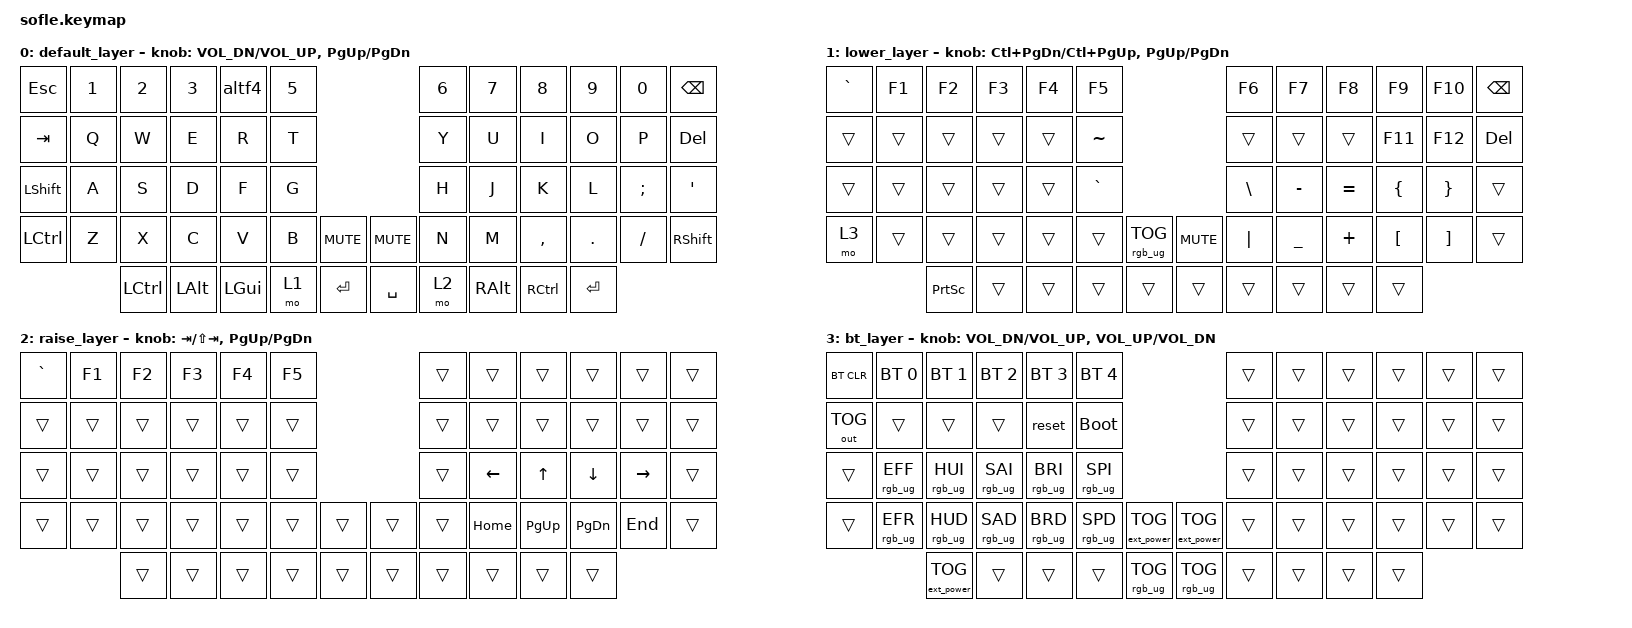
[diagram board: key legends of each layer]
/*
 * Copyright (c) 2020 The ZMK Contributors
 *
 * SPDX-License-Identifier: MIT
 */

#include <behaviors.dtsi>
#include <dt-bindings/zmk/keys.h>
#include <dt-bindings/zmk/bt.h>
#include <dt-bindings/zmk/outputs.h>
#include <dt-bindings/zmk/rgb.h>
#include <dt-bindings/zmk/ext_power.h>

/ {

    behaviors {
        altf4: alt_f4 {
            compatible = "zmk,behavior-mod-morph";
            label = "ALT_F4";
            #binding-cells = <0>;
            bindings = <&kp N4>, <&kp LA(F4)>;
            mods = <(MOD_LALT)>;
        };
    };

    keymap {
        compatible = "zmk,keymap";

        default_layer {
// ------------------------------------------------------------------------------------------------------------
// |  ESC  |  1  |  2  |  3   |  4   |  5   |                   |  6   |  7    |  8    |  9   |   0   | BSPC  |
// |  TAB  |  Q  |  W  |  E   |  R   |  T   |                   |  Y   |  U    |  I    |  O   |   P   | DEL   |
// | SHIFT |  A  |  S  |  D   |  F   |  G   |                   |  H   |  J    |  K    |  L   |   ;   |   '   |
// | CTRL  |  Z  |  X  |  C   |  V   |  B   |  MUTE  |  | MUTE  |  N   |  M    |  ,    |  .   |   /   | SHIFT |
//               |CTRL | ALT  | GUI  | LOWER|  ENTER |  | SPACE | RAISE| CTRL  | ALT   | GUI  |
            bindings = < 
&kp ESC   &kp N1 &kp N2    &kp N3   &altf4    &kp N5                         &kp N6 &kp N7    &kp N8    &kp N9   &kp N0   &kp BSPC
&kp TAB   &kp Q  &kp W     &kp E    &kp R     &kp T                          &kp Y  &kp U     &kp I     &kp O    &kp P    &kp DEL
&kp LSHFT &kp A  &kp S     &kp D    &kp F     &kp G                          &kp H  &kp J     &kp K     &kp L    &kp SEMI &kp SQT
&kp LCTRL &kp Z  &kp X     &kp C    &kp V     &kp B  &kp C_MUTE   &kp C_MUTE &kp N  &kp M     &kp COMMA &kp DOT  &kp FSLH &kp RSHFT
                 &kp LCTRL &kp LALT &kp LGUI  &mo 1  &kp RET      &kp SPACE  &mo 2  &kp RALT  &kp RCTL  &kp ENTER
            >;

            sensor-bindings = <&inc_dec_kp C_VOL_DN C_VOL_UP &inc_dec_kp PG_UP PG_DN>;
        };

        lower_layer {
// ----------------------------------------------------------------------------------------------------------------------------------------------------
// | `     |  F1 |  F2 |  F3  |  F4  |  F5  |                                              |  F6     |  F7      |  F8    |  F9     |  F10     | BSPC  |
// |       |     |     |      |      |   ~  |                                              |         |          |        |  F11    |  F12     |  DEL  |
// |       |     |     |      |      |   `  |                                              |  \      |   -      |  =     |  {      |   }      |       |
// |BTLAYER|     |     |      |      |      | RGBTOG |                           | MUTE    |  |      |   _      |  +     |  [      |   ]      |       |
//               |     |      |      |      |        |                           |         |         |          |        |         |
               bindings = <
&kp GRAVE &kp F1    &kp F2    &kp F3      &kp F4    &kp F5                                  &kp F6    &kp F7    &kp F8    &kp F9    &kp F10   &kp BSPC
&trans    &trans    &trans    &trans      &trans    &kp TILDE                               &trans    &trans    &trans    &kp F11   &kp F12   &kp DEL
&trans    &trans    &trans    &trans      &trans    &kp GRAVE                               &kp BSLH  &kp MINUS &kp EQUAL &kp LBRC  &kp RBRC  &trans  
&mo 3     &trans    &trans    &trans      &trans    &trans    &rgb_ug RGB_TOG   &kp C_MUTE  &kp PIPE  &kp UNDER &kp PLUS  &kp LBKT  &kp RBKT  &trans
                    &kp PSCRN &trans      &trans    &trans    &trans            &trans      &trans    &trans    &trans    &trans
            >;

            sensor-bindings = <&inc_dec_kp LC(PG_DN) LC(PG_UP) &inc_dec_kp PG_UP PG_DN>;
        };

        raise_layer {
// ----------------------------------------------------------------------------------------------------------------------------
// | `     |  F1 |  F2 |  F3  |  F4  |  F5  |                                   |      |       |       |      |       |       |
// |       |     |     |      |      |      |                                   |      |       |       |      |       |       |
// |       |     |     |      |      |      |                                   |      |   <-  |   ^   |   v  |   ->  |       |
// |       |     |     |      |      |      |      |      |       |      |      | Home | PgUp  | PgDn  |  End |       |
//                     |      |      |      |      |      |       |      |      |      |       |       |
            bindings = <
&kp GRAVE &kp F1    &kp F2    &kp F3      &kp F4    &kp F5                                   &trans    &trans    &trans    &trans    &trans    &trans
&trans    &trans    &trans    &trans      &trans    &trans                                   &trans    &trans    &trans    &trans    &trans    &trans
&trans    &trans    &trans    &trans      &trans    &trans                                   &trans    &kp LEFT  &kp UP    &kp DOWN  &kp RIGHT &trans
&trans    &trans    &trans    &trans      &trans    &trans    &trans                 &trans  &trans    &kp HOME  &kp PG_UP &kp PG_DN &kp END   &trans
                    &trans    &trans      &trans    &trans    &trans                 &trans  &trans    &trans    &trans    &trans
            >;

            sensor-bindings = <&inc_dec_kp TAB LS(TAB) &inc_dec_kp PG_UP PG_DN>;
        };

        bt_layer {
// --------------------------------------------------------------------------------------------------------------------------------------
// |BTCLR | BT0      | BT1     |  BT2    |  BT3    |  BT4    |                              |      |      |       |      |       |       |
// |OUTTOG|          |         |         |  Reset  | Bootldr |                              |      |      |       |      |       |       |
// |      | RGB_EFF  | RGB_HUI | RGB_SAI | RGB_BRI | RGB_SPI |                              |      |   <- |   ^   |   v  |   ->  |       |
// |      | RGB_EFR  | RGB_HUD | RGB_SAD | RGB_BRD | RGB_SPD |ExtPwr|                |ExtPwr|      | Home | PgUp  | PgDn |  End  |       |
//                   |         |         |         |         |RGBTog|                |RGBTog|      |      |       |      |
            bindings = <
&bt BT_CLR   &bt BT_SEL 0     &bt BT_SEL 1      &bt BT_SEL 2    &bt BT_SEL 3    &bt BT_SEL 4                                               &trans    &trans    &trans    &trans    &trans    &trans
&out OUT_TOG &trans           &trans            &trans          &reset          &bootloader                                                &trans    &trans    &trans    &trans    &trans    &trans
&trans       &rgb_ug RGB_EFF  &rgb_ug RGB_HUI   &rgb_ug RGB_SAI &rgb_ug RGB_BRI &rgb_ug RGB_SPI                                            &trans    &trans    &trans    &trans    &trans    &trans
&trans       &rgb_ug RGB_EFR  &rgb_ug RGB_HUD   &rgb_ug RGB_SAD &rgb_ug RGB_BRD &rgb_ug RGB_SPD  &ext_power EP_TOG      &ext_power EP_TOG  &trans    &trans    &trans    &trans    &trans    &trans
                              &ext_power EP_TOG &trans          &trans          &trans           &rgb_ug RGB_TOG        &rgb_ug RGB_TOG    &trans    &trans    &trans    &trans
            >;

            sensor-bindings = <&inc_dec_kp C_VOL_DN C_VOL_UP &inc_dec_kp C_VOL_UP C_VOL_DN>;
        };
    };
};


    };
};
